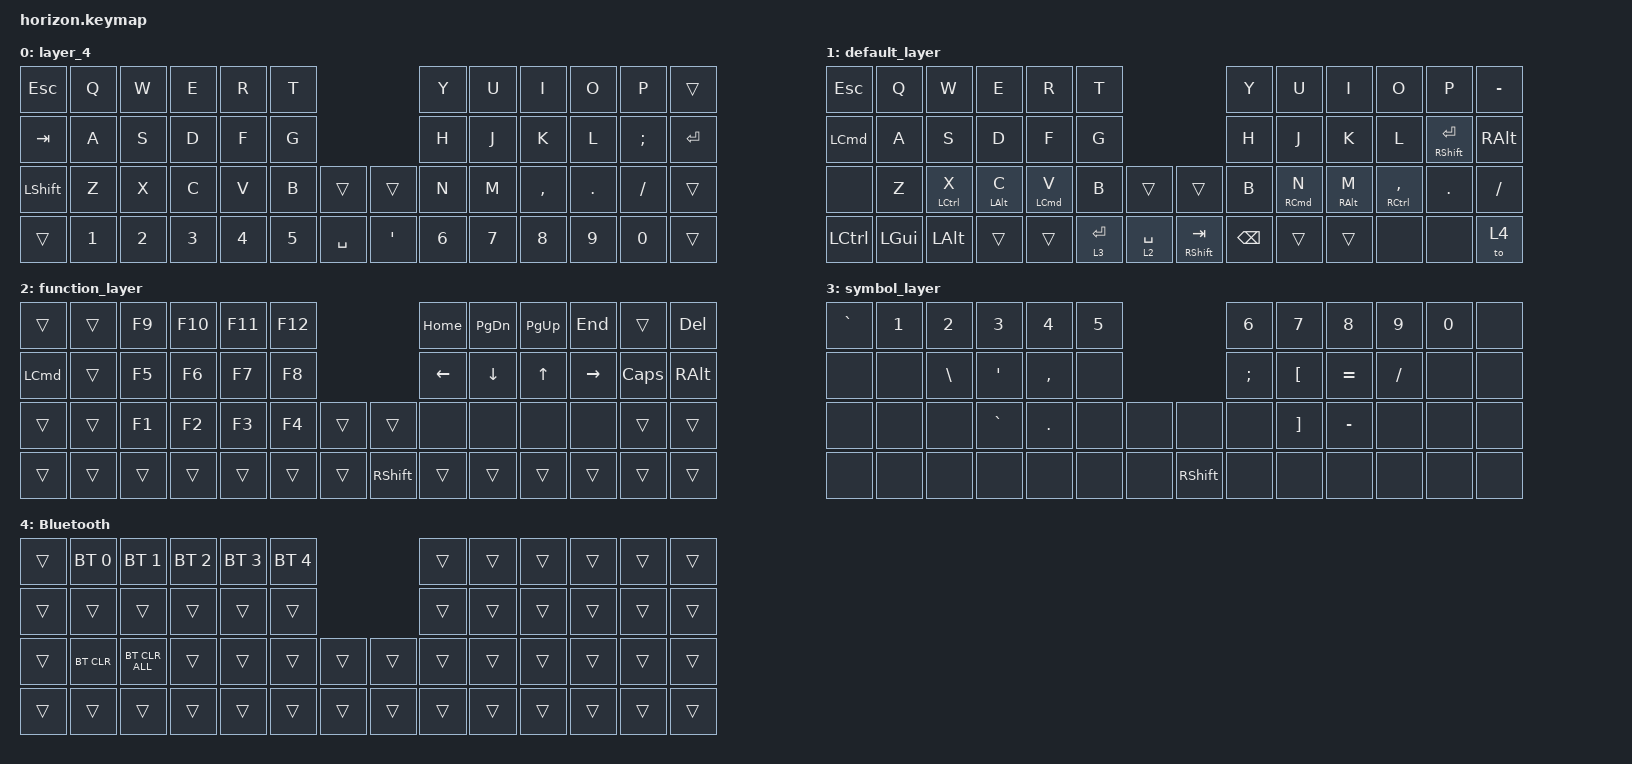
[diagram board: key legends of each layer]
/*
 * Copyright (c) 2021 The ZMK Contributors
 *
 * SPDX-License-Identifier: MIT
 */

#include <behaviors.dtsi>
#include <dt-bindings/zmk/bt.h>
#include <dt-bindings/zmk/keys.h>

#define DEF 0
#define SYM 1
#define FUN 2

&lt {
    tapping-term-ms = <180>;
    flavor = "tap-preferred";
};

&mt {
    quick-tap-ms = <0>;
    flavor = "balanced";
};

/ {
    combos {
        compatible = "zmk,combos";

        comboESC {
            bindings = <&kp ESCAPE>;
            key-positions = <19 20>;
        };

        comboGUI {
            bindings = <&kp LCTRL>;
            key-positions = <15 16>;
        };
    };

    keymap {
        compatible = "zmk,keymap";

        layer_4 {
            bindings = <
&kp ESC    &kp Q   &kp W   &kp E   &kp R   &kp T                        &kp Y   &kp U   &kp I      &kp O    &kp P     &trans
&kp TAB    &kp A   &kp S   &kp D   &kp F   &kp G                        &kp H   &kp J   &kp K      &kp L    &kp SEMI  &kp ENTER
&kp LSHFT  &kp Z   &kp X   &kp C   &kp V   &kp B   &trans     &trans    &kp N   &kp M   &kp COMMA  &kp DOT  &kp FSLH  &trans
&trans     &kp N1  &kp N2  &kp N3  &kp N4  &kp N5  &kp SPACE  &kp APOS  &kp N6  &kp N7  &kp N8     &kp N9   &kp N0    &trans
            >;
        };

        default_layer {
            bindings = <
&kp ESCAPE        &kp Q     &kp W        &kp E           &kp R               &kp T                                    &kp Y          &kp U                &kp I            &kp O            &kp P                  &kp MINUS
&kp LEFT_COMMAND  &kp A     &kp S        &kp D           &kp F               &kp G                                    &kp H          &kp J                &kp K            &kp L            &mt RIGHT_SHIFT ENTER  &kp RIGHT_ALT
&none             &kp Z     &mt LCTRL X  &mt LEFT_ALT C  &mt LEFT_COMMAND V  &kp B        &trans       &trans         &kp B          &mt RIGHT_COMMAND N  &mt RIGHT_ALT M  &mt RCTRL COMMA  &kp PERIOD             &kp SLASH
&kp LCTRL         &kp LGUI  &kp LALT     &trans          &trans              &lt 3 ENTER  &lt 2 SPACE  &mt RSHFT TAB  &kp BACKSPACE  &trans               &trans           &none            &none                  &to 4
            >;
        };

        function_layer {
            bindings = <
&trans            &trans  &kp F9  &kp F10  &kp F11  &kp F12                     &kp HOME  &kp PAGE_DOWN  &kp PAGE_UP   &kp END    &trans        &kp DEL
&kp LEFT_COMMAND  &trans  &kp F5  &kp F6   &kp F7   &kp F8                      &kp LEFT  &kp DOWN       &kp UP_ARROW  &kp RIGHT  &kp CAPSLOCK  &kp RIGHT_ALT
&trans            &trans  &kp F1  &kp F2   &kp F3   &kp F4   &trans  &trans     &none     &none          &none         &none      &trans        &trans
&trans            &trans  &trans  &trans   &trans   &trans   &trans  &kp RSHFT  &trans    &trans         &trans        &trans     &trans        &trans
            >;
        };

        symbol_layer {
            bindings = <
&kp GRAVE  &kp N1  &kp N2         &kp N3     &kp N4      &kp N5                    &kp N6         &kp N7             &kp N8     &kp N9     &kp N0  &none
&none      &none   &kp BACKSLASH  &kp SQT    &kp COMMA   &none                     &kp SEMICOLON  &kp LEFT_BRACKET   &kp EQUAL  &kp SLASH  &none   &none
&none      &none   &none          &kp GRAVE  &kp PERIOD  &none   &none  &none      &none          &kp RIGHT_BRACKET  &kp MINUS  &none      &none   &none
&none      &none   &none          &none      &none       &none   &none  &kp RSHFT  &none          &none              &none      &none      &none   &none
            >;
        };

        Bluetooth {
            bindings = <
&trans  &bt BT_SEL 0  &bt BT_SEL 1    &bt BT_SEL 2  &bt BT_SEL 3  &bt BT_SEL 4                  &trans  &trans  &trans  &trans  &trans  &trans
&trans  &trans        &trans          &trans        &trans        &trans                        &trans  &trans  &trans  &trans  &trans  &trans
&trans  &bt BT_CLR    &bt BT_CLR_ALL  &trans        &trans        &trans        &trans  &trans  &trans  &trans  &trans  &trans  &trans  &trans
&trans  &trans        &trans          &trans        &trans        &trans        &trans  &trans  &trans  &trans  &trans  &trans  &trans  &trans
            >;
        };
    };
};
